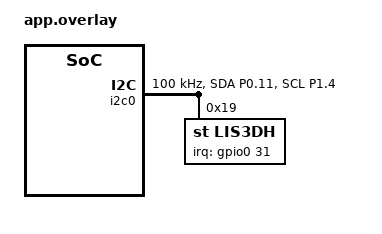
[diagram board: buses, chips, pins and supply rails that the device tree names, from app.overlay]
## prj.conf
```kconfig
CONFIG_I2C=y
CONFIG_GPIO=y

# Enable Sensor subsystem and LIS3DH driver
CONFIG_SENSOR=y
CONFIG_SENSOR_ASYNC_API=y
CONFIG_LIS2DH_TRIGGER_GLOBAL_THREAD=y
# Ensure printk can handle formatting and has enough stack space inside the thread
CONFIG_PRINTK=y
CONFIG_SYSTEM_WORKQUEUE_STACK_SIZE=2048

CONFIG_BUILD_OUTPUT_UF2=y
```

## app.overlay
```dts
&pinctrl {
    /* Define the Active State */
    i2c0_default: i2c0_default {
        group1 {
            psels = <NRF_PSEL(TWIM_SDA, 0, 11)>,  /* SDA: P0.11 */
                    <NRF_PSEL(TWIM_SCL, 1, 4)>;   /* SCL: P1.04 */
        };
    };

    /* Define the Low-Power Sleep State */
    i2c0_sleep: i2c0_sleep {
        group1 {
            psels = <NRF_PSEL(TWIM_SDA, 0, 11)>,
                    <NRF_PSEL(TWIM_SCL, 1, 4)>;
            low-power-enable;
        };
    };
};

&i2c0 {
    status = "okay";
    /* Point to BOTH default and sleep states to satisfy Nordic's pinctrl engine */
    pinctrl-0 = <&i2c0_default>;
    pinctrl-1 = <&i2c0_sleep>;
    pinctrl-names = "default", "sleep";
    
    clock-frequency = <100000>; 

    lis3dh: lis3dh@19 {
        compatible = "st,lis3dh", "st,lis2dh";
        reg = <0x19>;
        
        /* Interrupt pin on P0.31 */
        irq-gpios = <&gpio0 31 (GPIO_ACTIVE_HIGH | GPIO_PULL_DOWN)>;
        anym-on-int1; 
    };
};
```

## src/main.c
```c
#include <zephyr/kernel.h>
#include <zephyr/device.h>
#include <zephyr/drivers/sensor.h>
#include <zephyr/sys/printk.h>

/* Récupération automatique de l'instance définie dans le Devicetree */
#define LIS3DH_NODE DT_NODELABEL(lis3dh)

/* Fonction de rappel (Callback) appelée lors d'un mouvement */
static void trigger_handler(const struct device *dev, const struct sensor_trigger *trig)
{
    if (trig->type == SENSOR_TRIG_DATA_READY || trig->type == SENSOR_TRIG_DELTA) {
        printk("Mouvement détecté par le driver LIS3DH !\n");
        
        /* 
         * Optionnel : Vous pouvez lire les données ici si nécessaire 
         * struct sensor_value accel[3];
         * sensor_sample_fetch(dev);
         * sensor_channel_get(dev, SENSOR_CHAN_ACCEL_XYZ, accel);
         */
    }
}

int main(void)
{
    /* 1. Récupérer l'appareil via le Devicetree */
    const struct device *const imu_dev = DEVICE_DT_GET(LIS3DH_NODE);

    if (!device_is_ready(imu_dev)) {
        printk("Le capteur LIS3DH n'est pas prêt.\n");
        return -1;
    }
    printk("LIS3DH initialisé avec succès via le driver.\n");

    /* 2. Configurer le Trigger (Interruption) */
    struct sensor_trigger trig = {
        .type = SENSOR_TRIG_DELTA, // Déclenchement sur changement (mouvement)
        .chan = SENSOR_CHAN_ACCEL_XYZ,
    };

    /* 3. Enregistrer la fonction de callback */
    int rc = sensor_trigger_set(imu_dev, &trig, trigger_handler);
    if (rc < 0) {
        printk("Impossible d'activer le trigger : erreur %d\n", rc);
        return rc;
    }

    printk("Système actif. En attente d'interruptions sur la pin du Devicetree...\n");

    /* La boucle principale n'a plus besoin de "polder" la pin */
    while (1) {
        k_sleep(K_MSEC(1000));
    }

    return 0;
}
```
